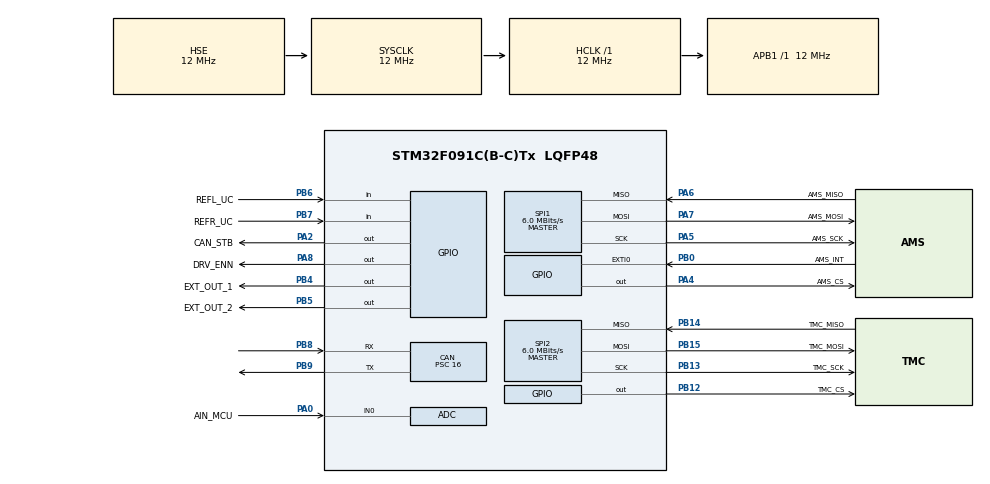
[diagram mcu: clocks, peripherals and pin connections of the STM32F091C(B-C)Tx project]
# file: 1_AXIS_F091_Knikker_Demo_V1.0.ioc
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CAN.BS1=CAN_BS1_2TQ
CAN.CalculateBaudRate=187500
CAN.CalculateTimeBit=5333
CAN.CalculateTimeQuantum=1333.3333333333333
CAN.Mode=CAN_MODE_NORMAL
CAN.Prescaler=16
Mcu.Family=STM32F0
Mcu.Name=STM32F091C(B-C)Tx
Mcu.Package=LQFP48
NVIC.CEC_CAN_IRQn=true\:0\:0\:false\:false\:true\:true\:true\:true
NVIC.EXTI0_1_IRQn=true\:0\:0\:false\:false\:true\:true\:true\:true
PA0.GPIO_Label=AIN_MCU
PA0.Mode=IN0
PA0.Signal=ADC_IN0
PA13.GPIO_Label=SWDIO
PA13.Mode=Serial_Wire
PA13.Signal=SYS_SWDIO
PA14.GPIO_Label=SWCLK
PA14.Mode=Serial_Wire
PA14.Signal=SYS_SWCLK
PA2.GPIO_Label=CAN_STB
PA2.Signal=GPIO_Output
PA4.GPIO_Label=AMS_CS
PA4.Signal=GPIO_Output
PA5.GPIO_Label=AMS_SCK
PA5.Mode=Full_Duplex_Master
PA5.Signal=SPI1_SCK
PA6.GPIO_Label=AMS_MISO
PA6.Mode=Full_Duplex_Master
PA6.Signal=SPI1_MISO
PA7.GPIO_Label=AMS_MOSI
PA7.Mode=Full_Duplex_Master
PA7.Signal=SPI1_MOSI
PA8.GPIO_Label=DRV_ENN
PA8.Signal=GPIO_Output
PB0.GPIO_Label=AMS_INT
PB0.GPIO_ModeDefaultEXTI=GPIO_MODE_IT_RISING
PB0.Signal=GPXTI0
PB12.GPIO_Label=TMC_CS
PB12.Signal=GPIO_Output
PB13.GPIO_Label=TMC_SCK
PB13.Mode=Full_Duplex_Master
PB13.Signal=SPI2_SCK
PB14.GPIO_Label=TMC_MISO
PB14.Mode=Full_Duplex_Master
PB14.Signal=SPI2_MISO
PB15.GPIO_Label=TMC_MOSI
PB15.Mode=Full_Duplex_Master
PB15.Signal=SPI2_MOSI
PB4.GPIO_Label=EXT_OUT_1
PB4.Signal=GPIO_Output
PB5.GPIO_Label=EXT_OUT_2
PB5.Signal=GPIO_Output
PB6.GPIO_Label=REFL_UC
PB6.GPIO_PuPd=GPIO_PULLDOWN
PB6.Signal=GPIO_Input
PB7.GPIO_Label=REFR_UC
PB7.GPIO_PuPd=GPIO_PULLDOWN
PB7.Signal=GPIO_Input
PB8.Mode=CAN_Activate
PB8.Signal=CAN_RX
PB9.Mode=CAN_Activate
PB9.Signal=CAN_TX
PF0-OSC_IN.Mode=HSE-External-Oscillator
PF0-OSC_IN.Signal=RCC_OSC_IN
PF1-OSC_OUT.Mode=HSE-External-Oscillator
PF1-OSC_OUT.Signal=RCC_OSC_OUT
ProjectManager.HeapSize=0x200
ProjectManager.StackSize=0x400
ProjectManager.TargetToolchain=STM32CubeIDE
RCC.AHBFreq_Value=12000000
RCC.APB1Freq_Value=12000000
RCC.APB1TimFreq_Value=12000000
RCC.HCLKFreq_Value=12000000
RCC.HSE_VALUE=12000000
RCC.PLLSourceVirtual=RCC_PLLSOURCE_HSE
RCC.SYSCLKFreq_VALUE=12000000
RCC.SYSCLKSource=RCC_SYSCLKSOURCE_HSE
SPI1.BaudRatePrescaler=SPI_BAUDRATEPRESCALER_2
SPI1.CLKPhase=SPI_PHASE_2EDGE
SPI1.CalculateBaudRate=6.0 MBits/s
SPI1.DataSize=SPI_DATASIZE_8BIT
SPI1.Direction=SPI_DIRECTION_2LINES
SPI1.Mode=SPI_MODE_MASTER
SPI1.VirtualType=VM_MASTER
SPI2.CalculateBaudRate=6.0 MBits/s
SPI2.DataSize=SPI_DATASIZE_8BIT
SPI2.Direction=SPI_DIRECTION_2LINES
SPI2.Mode=SPI_MODE_MASTER
SPI2.VirtualType=VM_MASTER
board=custom

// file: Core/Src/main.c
/* USER CODE BEGIN Header */
/**
  ******************************************************************************
  * @file           : main.c
  * @brief          : Main program body
  ******************************************************************************
  * @attention
  *
  * Copyright (c) 2022 STMicroelectronics.
  * All rights reserved.
  *
  * This software is licensed under terms that can be found in the LICENSE file
  * in the root directory of this software component.
  * If no LICENSE file comes with this software, it is provided AS-IS.
  *
  ******************************************************************************
  */
/* USER CODE END Header */
#include "main.h"

ADC_HandleTypeDef hadc;

CAN_HandleTypeDef hcan;

SPI_HandleTypeDef hspi1;
SPI_HandleTypeDef hspi2;

void SystemClock_Config(void);
static void MX_GPIO_Init(void);
static void MX_ADC_Init(void);
static void MX_CAN_Init(void);
static void MX_SPI1_Init(void);
static void MX_SPI2_Init(void);

/* USER CODE BEGIN 0 */

/* CAN VARIABLES */
CAN_TxHeaderTypeDef CANTxHeader;
CAN_RxHeaderTypeDef CANRxHeader;
//ConfigurationTypeDef configHeader;

/* Current config */
CurrentConfig CurrentSetting1;

uint8_t CANTxData[8];	//CANTX data array
uint8_t CANRxData[8];	//CANRX data array
uint32_t TxMailbox[3];	//CAN Mailbox
int Datacheck;			//CAN Datacheck

/* Ramp Profiles */
RampConfig Ramp1;

/* AMS VARIABLES */
uint16_t Angles[4100];	//buffer for logging
int Ax = 0;				// counter for buffer
uint8_t AMS_Ready;		//check for interrupt

/* Code Settings */
int AMS_ENB = 0; // 0 = disable Hall sensor , 1 = enable Hall sensor
int ENC_ENB = 0; // 0 = disable Encoder , 1 = enable Encoder
int STG_ENB = 0; // 0 = disable Stallguard, 1 = enable Stallguard

/* Marble variables */
const int NumberofMarbles = 20;
int Current_Marble = 0;
int Reading_Marble = 0;
int m;
uint8_t Marbles[20];
int Open = 0;
int stall = 0;
uint32_t stallcounter = 0;
uint16_t currentposition = 0;
uint16_t open_pos = 0;
uint16_t closed_pos = 0;
int Raspi_Init = 0;
int PLC_Init = 0;

/*  CAN RECEIVE INTERRUPT */
void HAL_CAN_RxFifo0MsgPendingCallback(CAN_HandleTypeDef *hcan)
{
	HAL_CAN_GetRxMessage(hcan, CAN_RX_FIFO0, &CANRxHeader, CANRxData);

	if (CANRxData[0] == 0x01)
	{
		Datacheck = 1;
	}
}

/* AMS INTERRUPT */
void HAL_GPIO_EXTI_Callback(uint16_t GPIO_Pin)
{
	if(GPIO_Pin == AMS_INT_Pin && AMS_Ready == 0)
	{
		AMS_Ready = 1;
	}
}
/* USER CODE END 0 */

int main(void)
{

  /* MCU Configuration--------------------------------------------------------*/

  /* Reset of all peripherals, Initializes the Flash interface and the Systick. */

  HAL_Init();

  /* USER CODE BEGIN Init */

  HAL_Delay(1000); //delay to allow caps to charge

  /* USER CODE END Init */

  /* Configure the system clock */
  SystemClock_Config();

  /* Initialize all configured peripherals */
  MX_GPIO_Init();
  MX_ADC_Init();
  MX_CAN_Init();
  MX_SPI1_Init();
  MX_SPI2_Init();
  /* USER CODE BEGIN 2 */
  HAL_GPIO_WritePin(GPIOB,EXT_OUT_2_Pin,1); // make sure raspi waits
  HAL_Delay(100);

  TMC5160_Stop();
  Drive_Enable(0);

  Ramp1.VSTART 	= 10;		//Motor Start speed
  Ramp1.A1 		= 1000;		//Motor Accelaration from Vstart to speed V1
  Ramp1.V1 		= 10000;	//Motor Speed limit V1
  Ramp1.AMAX 	= 51200;	//Motor Accelaration from speed V1 to speed Vmax
  Ramp1.VMAX 	= 51200;	//Motor Max speed limit
  Ramp1.DMAX 	= 700;		//Motor Decelaration speed from speed VMAX to V1
  Ramp1.D1 		= 1400; 	//Motor Decelaration speed from V1 to VStop
  Ramp1.VSTOP 	= 13;		//Motor Stop speed

  CurrentSetting1.IHOLD = 3;
  CurrentSetting1.IRUN 	= 1;

  TMC5160_Basic_Init(&CurrentSetting1); 	//TMC5160 basic init

  HAL_GPIO_WritePin(GPIOB,EXT_OUT_1_Pin,0); // make sure PLC waits

  Drive_Enable(1); // enable driver

  TMC5160_Basic_Rotate(1, &Ramp1);
  HAL_Delay(50);
  TMC5160_Init_Stallguard(0);

  while(stall == 0 && stallcounter < 35) //wait for stepper to reach closed position
  {
		//TMC5160_Monitor_Stallguard();
	    HAL_Delay(10);
		stallcounter++;

		if (TMC5160_Monitor_Stallguard() == 1) // stall event
		{
			Drive_Enable(0);
			TMC5160_Init_Stallguard(1); // clear stall flag
			// enter breakpoint if motor needs to start movement here again, if no breakpoint is added, motor will not stall!
			stall = 1;
		}
  }

  if (stall == 0)
  {
	  Drive_Enable(0);
	  HAL_Delay(100);
	  TMC5160_Init_Stallguard(1); // clear stall flag
  }

  TMC5160_SPIWrite(0x21, 0x00000000, 1);// writing value to address 24 = 0x2D(XTARGET)  1 lap
  TMC5160_Rotate_To(0, &Ramp1);

  HAL_Delay(1500);

  Open = 0;
  open_pos = 0;
  closed_pos = 13900;

  Drive_Enable(1); // enable driver
  TMC5160_Rotate_To(closed_pos,&Ramp1); // close
  Open = 1;
  Drive_Enable(0); // disable driver

  for(m = 0; m < NumberofMarbles; m++) //Clear Array, and make sure all are 0
  {
	  Marbles[m] = 0;
  }

  HAL_Delay(5000);

  while(Raspi_Init == 0) //wait for raspi init
  {
	  HAL_GPIO_WritePin(GPIOB,EXT_OUT_2_Pin,0);
  	  HAL_Delay(100);
  	  HAL_GPIO_WritePin(GPIOB,EXT_OUT_2_Pin,1);

  	  if(Read_IN(2) == 1) //Wait for RASPI signal to start
  	  {
  	  	  while(Read_IN(2) == 0) //Wait for RASPI signal to start
  	  	  {
  	  	  }

  		  HAL_GPIO_WritePin(GPIOB,EXT_OUT_2_Pin,0);
  	  	  HAL_Delay(100);
  	  	  HAL_GPIO_WritePin(GPIOB,EXT_OUT_2_Pin,1);

  	  	  HAL_Delay(3000);
  	  	  Raspi_Init = 1;
  	  }
  }

  while(PLC_Init == 0)
  {
	  HAL_GPIO_WritePin(GPIOB,EXT_OUT_1_Pin,1);
	  HAL_Delay(100);
	  HAL_GPIO_WritePin(GPIOB,EXT_OUT_1_Pin,0);

  	  if(Read_IN(1) == 1) //Wait for PLC signal that marble is in place
  	  {
  		  while(Read_IN(1) == 0) // wait for it to toggle low
  		  {
  		  }

  		  HAL_Delay(1000);
  		  PLC_Init = 1;
  	  }
  }

  //HAL_Delay(5000); //wait 5 sec before starting loop

  /* USER CODE END 2 */

  /* Infinite loop */
  while (1)
  {

    /* USER CODE BEGIN 3 */
  	  while(Read_IN(1) == 1) //Wait for PLC signal that marble is in place
  	  {
  	  }

	  // signal Raspi to start
	  HAL_GPIO_WritePin(GPIOB,EXT_OUT_2_Pin,0);
	  HAL_Delay(100);
	  HAL_GPIO_WritePin(GPIOB,EXT_OUT_2_Pin,1);

	  while(Read_IN(2) == 1) //Wait for Raspi signal marble is measured
	  {
	  }

	  HAL_Delay(1500); // do not change (for receiving pulses)

	  if(Read_IN(2) == 0)  // 2 Pulses for Glass
	  {
		  Reading_Marble = 1; // Glass
	  }

	  HAL_Delay(4000); // delay to add more time to sequence

	  Marbles[0] = Reading_Marble;

	  Current_Marble = Marbles[1]; // place to kick, number of holes after seek camera

	  if(Current_Marble == 0) // perform movement to sort Metal marble
	  {
		  if(Open == 0) // if nog niet open -> doe open
		  {
			  Drive_Enable(1); // enable driver
			  TMC5160_Rotate_To(open_pos,&Ramp1); // close
			  HAL_Delay(500);
			  Open = 1;
			  Drive_Enable(0); // enable driver
		  }
	  }

	  else
	  {
		  if (Open == 1) // if open -> doe dicht
		  {
			  Drive_Enable(1); // enable driver
			  TMC5160_Rotate_To(closed_pos,&Ramp1); // close
			  HAL_Delay(500);
			  Open = 0;
			  Drive_Enable(0); // enable driver
		  }
	  }

	  //Toggle_OUT(1,100); //signal PLC to continue
	  HAL_GPIO_WritePin(GPIOB,EXT_OUT_1_Pin,1);
	  HAL_Delay(500);
	  HAL_GPIO_WritePin(GPIOB,EXT_OUT_1_Pin,0);

	  Marbles[1] = Marbles[0]; // move marble 1 place
	  Marbles[0] = 0;

	  /*
	  for(m = (NumberofMarbles-1); m > 0; m--) //Move every Marble 1 space in the array
	  {
	  	 Marbles[m] = Marbles[m-1];
	  }*/

	  Reading_Marble = 0;
  }
  /* USER CODE END 3 */
}

void SystemClock_Config(void)
{
  RCC_OscInitTypeDef RCC_OscInitStruct = {0};
  RCC_ClkInitTypeDef RCC_ClkInitStruct = {0};

  /** Initializes the RCC Oscillators according to the specified parameters
  * in the RCC_OscInitTypeDef structure.
  */
  RCC_OscInitStruct.OscillatorType = RCC_OSCILLATORTYPE_HSI14|RCC_OSCILLATORTYPE_HSE;
  RCC_OscInitStruct.HSEState = RCC_HSE_ON;
  RCC_OscInitStruct.HSI14State = RCC_HSI14_ON;
  RCC_OscInitStruct.HSI14CalibrationValue = 16;
  RCC_OscInitStruct.PLL.PLLState = RCC_PLL_NONE;
  if (HAL_RCC_OscConfig(&RCC_OscInitStruct) != HAL_OK)
  {
    Error_Handler();
  }

  /** Initializes the CPU, AHB and APB buses clocks
  */
  RCC_ClkInitStruct.ClockType = RCC_CLOCKTYPE_HCLK|RCC_CLOCKTYPE_SYSCLK
                              |RCC_CLOCKTYPE_PCLK1;
  RCC_ClkInitStruct.SYSCLKSource = RCC_SYSCLKSOURCE_HSE;
  RCC_ClkInitStruct.AHBCLKDivider = RCC_SYSCLK_DIV1;
  RCC_ClkInitStruct.APB1CLKDivider = RCC_HCLK_DIV1;

  if (HAL_RCC_ClockConfig(&RCC_ClkInitStruct, FLASH_LATENCY_0) != HAL_OK)
  {
    Error_Handler();
  }
}

static void MX_ADC_Init(void)
{

  ADC_ChannelConfTypeDef sConfig = {0};

  /** Configure the global features of the ADC (Clock, Resolution, Data Alignment and number of conversion)
  */
  hadc.Instance = ADC1;
  hadc.Init.ClockPrescaler = ADC_CLOCK_ASYNC_DIV1;
  hadc.Init.Resolution = ADC_RESOLUTION_12B;
  hadc.Init.DataAlign = ADC_DATAALIGN_RIGHT;
  hadc.Init.ScanConvMode = ADC_SCAN_DIRECTION_FORWARD;
  hadc.Init.EOCSelection = ADC_EOC_SINGLE_CONV;
  hadc.Init.LowPowerAutoWait = DISABLE;
  hadc.Init.LowPowerAutoPowerOff = DISABLE;
  hadc.Init.ContinuousConvMode = DISABLE;
  hadc.Init.DiscontinuousConvMode = DISABLE;
  hadc.Init.ExternalTrigConv = ADC_SOFTWARE_START;
  hadc.Init.ExternalTrigConvEdge = ADC_EXTERNALTRIGCONVEDGE_NONE;
  hadc.Init.DMAContinuousRequests = DISABLE;
  hadc.Init.Overrun = ADC_OVR_DATA_PRESERVED;
  if (HAL_ADC_Init(&hadc) != HAL_OK)
  {
    Error_Handler();
  }

  /** Configure for the selected ADC regular channel to be converted.
  */
  sConfig.Channel = ADC_CHANNEL_0;
  sConfig.Rank = ADC_RANK_CHANNEL_NUMBER;
  sConfig.SamplingTime = ADC_SAMPLETIME_1CYCLE_5;
  if (HAL_ADC_ConfigChannel(&hadc, &sConfig) != HAL_OK)
  {
    Error_Handler();
  }

}

static void MX_CAN_Init(void)
{

  /* USER CODE BEGIN CAN_Init 0 */
  HAL_GPIO_WritePin(GPIOA,CAN_STB_Pin,0); // Set STB pin LOW for normal operation
  /* USER CODE END CAN_Init 0 */

  hcan.Instance = CAN;
  hcan.Init.Prescaler = 16;
  hcan.Init.Mode = CAN_MODE_NORMAL;
  hcan.Init.SyncJumpWidth = CAN_SJW_1TQ;
  hcan.Init.TimeSeg1 = CAN_BS1_2TQ;
  hcan.Init.TimeSeg2 = CAN_BS2_1TQ;
  hcan.Init.TimeTriggeredMode = DISABLE;
  hcan.Init.AutoBusOff = DISABLE;
  hcan.Init.AutoWakeUp = DISABLE;
  hcan.Init.AutoRetransmission = DISABLE;
  hcan.Init.ReceiveFifoLocked = DISABLE;
  hcan.Init.TransmitFifoPriority = DISABLE;
  if (HAL_CAN_Init(&hcan) != HAL_OK)
  {
    Error_Handler();
  }
  /* USER CODE BEGIN CAN_Init 2 */

  /* CAN filter */

  CAN_FilterTypeDef  sFilterConfig;

  sFilterConfig.FilterActivation = ENABLE;
  sFilterConfig.FilterBank = 10;
  sFilterConfig.FilterFIFOAssignment = CAN_RX_FIFO0;
  sFilterConfig.FilterIdHigh = 0x0000;
  sFilterConfig.FilterIdLow = 0x0000;
  sFilterConfig.FilterMaskIdHigh = 0x0000;
  sFilterConfig.FilterMaskIdLow = 0x0000;
  sFilterConfig.FilterMode = CAN_FILTERMODE_IDMASK;
  sFilterConfig.FilterScale = CAN_FILTERSCALE_32BIT;
  sFilterConfig.SlaveStartFilterBank = 0;

  HAL_CAN_ConfigFilter(&hcan, &sFilterConfig);

  HAL_CAN_Start(&hcan);
  HAL_CAN_ActivateNotification(&hcan, CAN_IT_RX_FIFO0_MSG_PENDING);

  /* USER CODE END CAN_Init 2 */

}

static void MX_SPI1_Init(void)
{

  /* SPI1 parameter configuration*/
  hspi1.Instance = SPI1;
  hspi1.Init.Mode = SPI_MODE_MASTER;
  hspi1.Init.Direction = SPI_DIRECTION_2LINES;
  hspi1.Init.DataSize = SPI_DATASIZE_8BIT;
  hspi1.Init.CLKPolarity = SPI_POLARITY_LOW;
  hspi1.Init.CLKPhase = SPI_PHASE_2EDGE;
  hspi1.Init.NSS = SPI_NSS_SOFT;
  hspi1.Init.BaudRatePrescaler = SPI_BAUDRATEPRESCALER_2;
  hspi1.Init.FirstBit = SPI_FIRSTBIT_MSB;
  hspi1.Init.TIMode = SPI_TIMODE_DISABLE;
  hspi1.Init.CRCCalculation = SPI_CRCCALCULATION_DISABLE;
  hspi1.Init.CRCPolynomial = 7;
  hspi1.Init.CRCLength = SPI_CRC_LENGTH_DATASIZE;
  hspi1.Init.NSSPMode = SPI_NSS_PULSE_DISABLE;
  if (HAL_SPI_Init(&hspi1) != HAL_OK)
  {
    Error_Handler();
  }

}

static void MX_SPI2_Init(void)
{

  /* SPI2 parameter configuration*/
  hspi2.Instance = SPI2;
  hspi2.Init.Mode = SPI_MODE_MASTER;
  hspi2.Init.Direction = SPI_DIRECTION_2LINES;
  hspi2.Init.DataSize = SPI_DATASIZE_8BIT;
  hspi2.Init.CLKPolarity = SPI_POLARITY_LOW;
  hspi2.Init.CLKPhase = SPI_PHASE_1EDGE;
  hspi2.Init.NSS = SPI_NSS_SOFT;
  hspi2.Init.BaudRatePrescaler = SPI_BAUDRATEPRESCALER_2;
  hspi2.Init.FirstBit = SPI_FIRSTBIT_MSB;
  hspi2.Init.TIMode = SPI_TIMODE_DISABLE;
  hspi2.Init.CRCCalculation = SPI_CRCCALCULATION_DISABLE;
  hspi2.Init.CRCPolynomial = 7;
  hspi2.Init.CRCLength = SPI_CRC_LENGTH_DATASIZE;
  hspi2.Init.NSSPMode = SPI_NSS_PULSE_ENABLE;
  if (HAL_SPI_Init(&hspi2) != HAL_OK)
  {
    Error_Handler();
  }

}

static void MX_GPIO_Init(void)
{
  GPIO_InitTypeDef GPIO_InitStruct = {0};

  /* GPIO Ports Clock Enable */
  __HAL_RCC_GPIOF_CLK_ENABLE();
  __HAL_RCC_GPIOA_CLK_ENABLE();
  __HAL_RCC_GPIOB_CLK_ENABLE();

  /*Configure GPIO pin Output Level */
  HAL_GPIO_WritePin(GPIOA, CAN_STB_Pin|AMS_CS_Pin|DRV_ENN_Pin, GPIO_PIN_RESET);

  /*Configure GPIO pin Output Level */
  HAL_GPIO_WritePin(GPIOB, TMC_CS_Pin|EXT_OUT_1_Pin|EXT_OUT_2_Pin, GPIO_PIN_RESET);

  /*Configure GPIO pins : CAN_STB_Pin AMS_CS_Pin DRV_ENN_Pin */
  GPIO_InitStruct.Pin = CAN_STB_Pin|AMS_CS_Pin|DRV_ENN_Pin;
  GPIO_InitStruct.Mode = GPIO_MODE_OUTPUT_PP;
  GPIO_InitStruct.Pull = GPIO_NOPULL;
  GPIO_InitStruct.Speed = GPIO_SPEED_FREQ_LOW;
  HAL_GPIO_Init(GPIOA, &GPIO_InitStruct);

  /*Configure GPIO pin : AMS_INT_Pin */
  GPIO_InitStruct.Pin = AMS_INT_Pin;
  GPIO_InitStruct.Mode = GPIO_MODE_IT_RISING;
  GPIO_InitStruct.Pull = GPIO_NOPULL;
  HAL_GPIO_Init(AMS_INT_GPIO_Port, &GPIO_InitStruct);

  /*Configure GPIO pins : TMC_CS_Pin EXT_OUT_1_Pin EXT_OUT_2_Pin */
  GPIO_InitStruct.Pin = TMC_CS_Pin|EXT_OUT_1_Pin|EXT_OUT_2_Pin;
  GPIO_InitStruct.Mode = GPIO_MODE_OUTPUT_PP;
  GPIO_InitStruct.Pull = GPIO_NOPULL;
  GPIO_InitStruct.Speed = GPIO_SPEED_FREQ_LOW;
  HAL_GPIO_Init(GPIOB, &GPIO_InitStruct);

  /*Configure GPIO pins : REFL_UC_Pin REFR_UC_Pin */
  GPIO_InitStruct.Pin = REFL_UC_Pin|REFR_UC_Pin;
  GPIO_InitStruct.Mode = GPIO_MODE_INPUT;
  GPIO_InitStruct.Pull = GPIO_PULLDOWN;
  HAL_GPIO_Init(GPIOB, &GPIO_InitStruct);

  /* EXTI interrupt init*/
  HAL_NVIC_SetPriority(EXTI0_1_IRQn, 0, 0);
  HAL_NVIC_EnableIRQ(EXTI0_1_IRQn);

}

void Error_Handler(void)
{
  __disable_irq();
  while (1)
  {
  }
}
